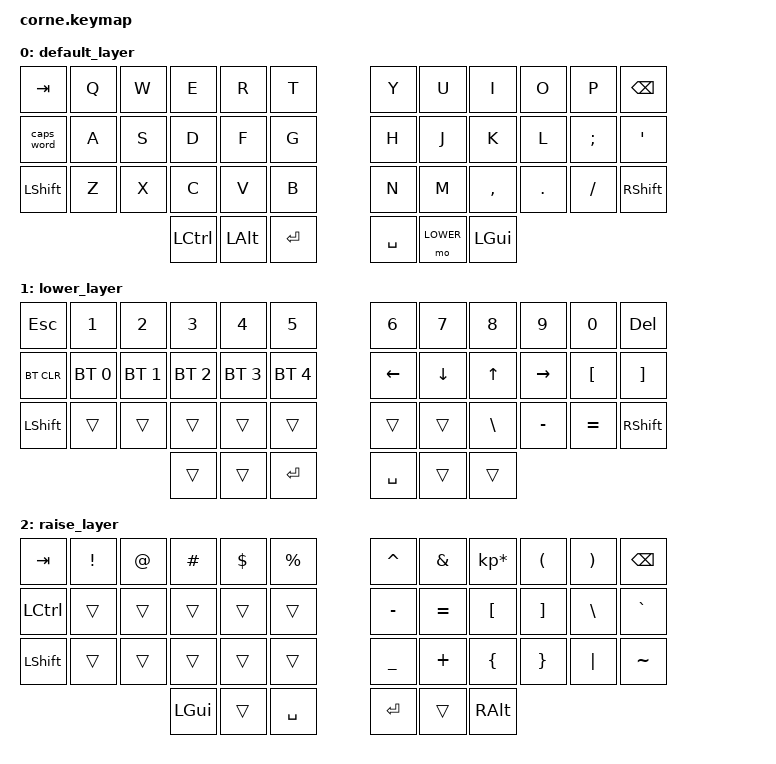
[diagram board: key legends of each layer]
/*
 * Copyright (c) 2020 The ZMK Contributors
 *
 * SPDX-License-Identifier: MIT
 */

#include <behaviors.dtsi>
#include <dt-bindings/zmk/keys.h>
#include <dt-bindings/zmk/bt.h>

#define DEFAULT 0
#define LOWER   1
#define RAISE   2

/ {
        keymap {
                compatible = "zmk,keymap";

                default_layer {
// -----------------------------------------------------------------------------------------
// |  TAB |  Q  |  W  |  E  |  R  |  T  |   |  Y  |  U         |  I  |  O  |  P  | BKSP |
// | CTRL |  A  |  S  |  D  |  F  |  G  |   |  H  |  J         |  K  |  L  |  ;  |  '   |
// | SHFT |  Z  |  X  |  C  |  V  |  B  |   |  N  |  M         |  ,  |  .  |  /  | SHFT |
//                    | LCTRL | LALT | ENT |   | SPC | LWR        | GUI |
                        bindings = <      
   &kp TAB   &kp Q &kp W &kp E &kp R &kp T   &kp Y   &kp U      &kp I     &kp O   &kp P    &kp BSPC
   &caps_word &kp A &kp S &kp D &kp F &kp G   &kp H   &kp J      &kp K     &kp L   &kp SEMI &kp SQT
   &kp LSHFT &kp Z &kp X &kp C &kp V &kp B   &kp N   &kp M      &kp COMMA &kp DOT &kp FSLH &kp RSHFT
                  &kp LCTRL &kp LALT &kp ENTER   &kp SPACE &mo LOWER &kp LGUI
                        >;
                };
                lower_layer {
// -----------------------------------------------------------------------------------------
// |  ESC |  1  |  2  |  3  |  4  |  5  |   |  6  |  7  |  8  |  9  |  0  | DEL |
// | BTCLR| BT1 | BT2 | BT3 | BT4 | BT5 |   | LFT | DWN |  UP | RGT |  [  |   ]  |
// | SHFT |     |     |     |     |     |   |     |     |  \  |  -  |  =  | SHFT |
//                    |     |     | ENT |   | SPC |     |     |
                        bindings = <
   &kp ESC    &kp N1       &kp N2       &kp N3       &kp N4       &kp N5         &kp N6   &kp N7   &kp N8 &kp N9    &kp N0 &kp DEL
   &bt BT_CLR &bt BT_SEL 0 &bt BT_SEL 1 &bt BT_SEL 2 &bt BT_SEL 3 &bt BT_SEL 4   &kp LEFT &kp DOWN &kp UP &kp RIGHT &kp LEFT_BRACKET &kp RIGHT_BRACKET
   &kp LSHFT  &trans       &trans       &trans       &trans       &trans         &trans   &trans  &kp BACKSLASH  &kp MINUS &kp EQUAL    &kp RSHFT
                &trans &trans &kp ENTER      &kp SPACE  &trans   &trans
                        >;
                };

                raise_layer {
// -----------------------------------------------------------------------------------------
// |  TAB |  !  |  @  |  #  |  $  |  %  |   |  ^  |  &  |  *  |  (  |  )  | BKSP |
// | CTRL |     |     |     |     |     |   |  -  |  =  |  [  |  ]  |  \  |  `   |
// | SHFT |     |     |     |     |     |   |  _  |  +  |  {  |  }  | "|" |  ~   |
//                    | GUI |     | SPC |   | ENT |     | ALT |
                        bindings = <
   &kp  TAB  &kp EXCL &kp AT &kp HASH &kp DLLR &kp PRCNT   &kp CARET &kp AMPS  &kp KP_MULTIPLY &kp LPAR &kp RPAR &kp BSPC
   &kp LCTRL &trans   &trans &trans   &trans   &trans      &kp MINUS &kp EQUAL &kp LBKT        &kp RBKT &kp BSLH &kp GRAVE
   &kp LSHFT &trans   &trans &trans   &trans   &trans      &kp UNDER &kp PLUS  &kp LBRC        &kp RBRC &kp PIPE &kp TILDE
                             &kp LGUI &trans   &kp SPACE   &kp RET   &trans    &kp RALT
                        >;
                };
        };
};
